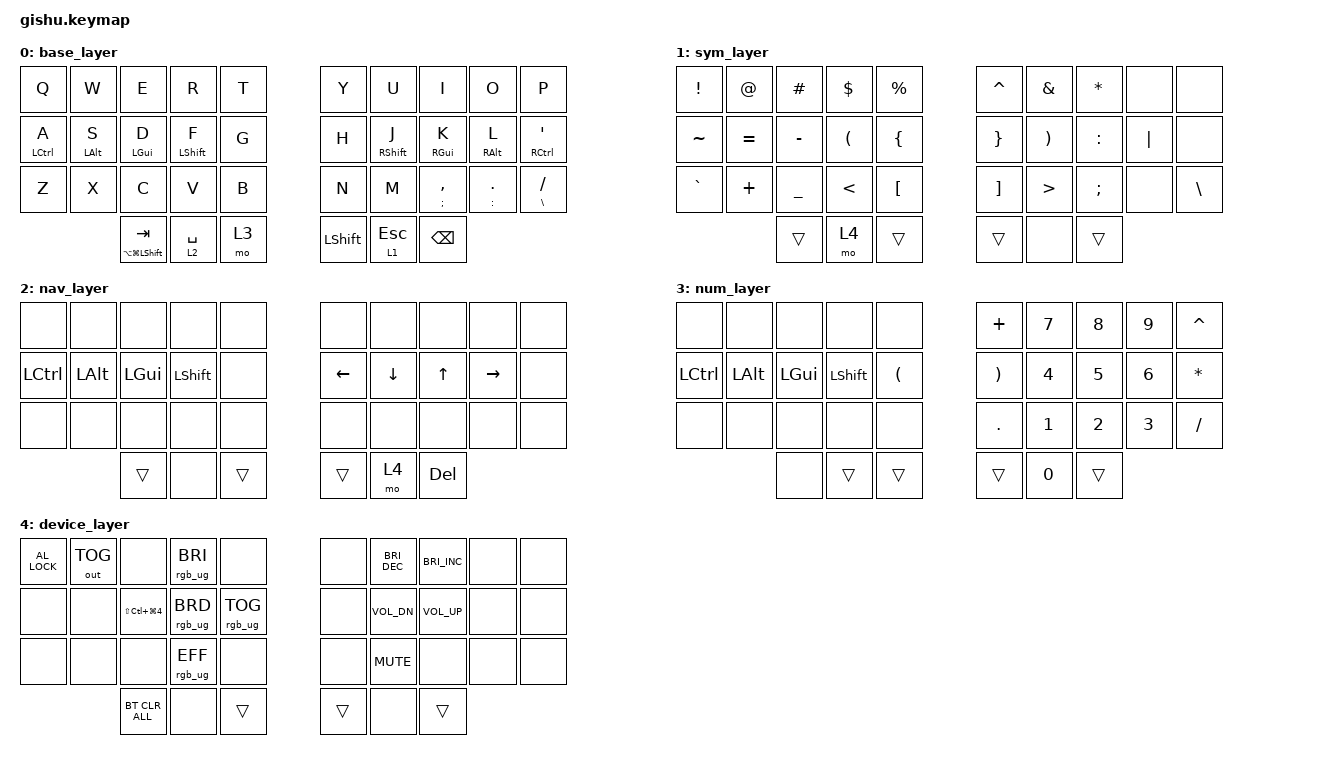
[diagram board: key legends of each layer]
#include <behaviors.dtsi>
#include <dt-bindings/zmk/bt.h>
#include <dt-bindings/zmk/keys.h>
#include <dt-bindings/zmk/outputs.h>
#include <dt-bindings/zmk/rgb.h>
#include <dt-bindings/zmk/ext_power.h>

#define BASE 0
#define SYM  1
#define NUM  2
#define NAV  3
#define DEV  4
#define MULT KP_MULTIPLY
#define MEH LG(LA(LSHIFT))

/ {
    behaviors {
        hr: home-row-hold-tap {
            compatible = "zmk,behavior-hold-tap";
            flavor = "balanced";
            #binding-cells = <2>;
            tapping-term-ms = <280>;
            quick-tap-ms = <280>; // repeat on tap-into-hold
            require-prior-idle-ms = <150>;
            bindings = <&kp>, <&kp>;

            // hold-trigger-key-positions = <KEYS_R THUMBS>;
            // hold-trigger-on-release; // delay positional check until key-release
        };

        ht: hold-tap {
            compatible = "zmk,behavior-hold-tap";
            flavor = "balanced";
            #binding-cells = <2>;
            tapping-term-ms = <280>;
            quick-tap-ms = <280>; // repeat on tap-into-hold
            bindings = <&kp>, <&kp>;

            // hold-trigger-key-positions = <KEYS_R THUMBS>;
            // hold-trigger-on-release; // delay positional check until key-release
        };

        ltq: layer-tap-hold-prefer {
            compatible = "zmk,behavior-hold-tap";
            flavor = "hold-preferred";
            #binding-cells = <2>;
            tapping-term-ms = <280>;
            bindings = <&mo>, <&kp>;
        };
    };

    combos {
        compatible = "zmk,combos";

        jk-enter {
            bindings = <&kp ENTER>;
            key-positions = <16 17>;
        };
    };

    keymap {
        compatible = "zmk,keymap";

        base_layer {
            bindings = <
       &kp Q        &kp W       &kp E                   &kp R        &kp T        &kp Y      &kp U        &kp I           &kp O          &kp P
       &hr LCTRL A  &hr LALT S  &hr LGUI D              &hr LSHFT F  &kp G        &kp H      &hr RSHFT J  &hr RGUI K      &hr RALT L     &hr RCTRL SQT
       &kp Z        &kp X       &kp C                   &kp V        &kp B        &kp N      &kp M        &ht SEMI COMMA  &ht COLON DOT  &ht BSLH FSLH
                                // &rgb_ug RGB_BRD  &rgb_ug RGB_BRI  &rgb_ug RGB_EFF        &rgb_ug RGB_TOG  &ext_power EP_TOG   &kp BSPC
                                &mt LA(LG(LSHIFT)) TAB  &lt 2 SPACE  &mo 3    &kp LSHFT  &ltq 1 ESC   &kp BSPC
            >;
        };

        sym_layer {
            bindings = <
       &kp EXCL   &kp AT     &kp HASH   &kp DLLR       &kp PRCNT             &kp CARET        &kp AMPS          &kp ASTERISK  &none     &none
       &kp TILDE  &kp EQUAL  &kp MINUS  &kp LPAR       &kp LEFT_BRACE        &kp RIGHT_BRACE  &kp RPAR          &kp COLON     &kp PIPE  &none
       &kp GRAVE  &kp PLUS   &kp UNDER  &kp LESS_THAN  &kp LBKT              &kp RBKT         &kp GREATER_THAN  &kp SEMI      &none     &kp BSLH
                             &trans     &mo 4          &trans                &trans           &none             &trans
            >;
        };

        nav_layer {
            bindings = <
       &none      &none     &none     &none      &none         &none     &none     &none    &none      &none
       &kp LCTRL  &kp LALT  &kp LGUI  &kp LSHFT  &none         &kp LEFT  &kp DOWN  &kp UP   &kp RIGHT  &none
       &none      &none     &none     &none      &none         &none     &none     &none    &none      &none
                            &trans    &none      &trans        &trans    &mo 4     &kp DEL
            >;
        };

        num_layer {
            bindings = <
       &none      &none     &none     &none      &none                       &kp PLUS               &kp N7  &kp N8  &kp N9  &kp CARET
       &kp LCTRL  &kp LALT  &kp LGUI  &kp LSHFT  &kp LEFT_PARENTHESIS        &kp RIGHT_PARENTHESIS  &kp N4  &kp N5  &kp N6  &kp ASTERISK
       &none      &none     &none     &none      &none                       &kp DOT                &kp N1  &kp N2  &kp N3  &kp SLASH
                            &none     &trans     &trans                      &trans                 &kp N0  &trans
            >;
        };

        device_layer {
            bindings = <
       &kp C_AL_LOCK  &out OUT_TOG  &none                     &rgb_ug RGB_BRI  &none       &none   &kp C_BRIGHTNESS_DEC  &kp C_BRIGHTNESS_INC  &none  &none
       &none          &none         &kp LS(LC(LG(NUMBER_4)))  &rgb_ug RGB_BRD  &rgb_ug RGB_TOG         &none   &kp K_VOL_DN          &kp K_VOLUME_UP       &none  &none
       &none          &none         &none                     &rgb_ug RGB_EFF  &none                   &none   &kp K_MUTE            &none                 &none  &none
                                    &bt BT_CLR_ALL            &none  &trans                  &trans  &none                 &trans
            >;
        };
    };
};

